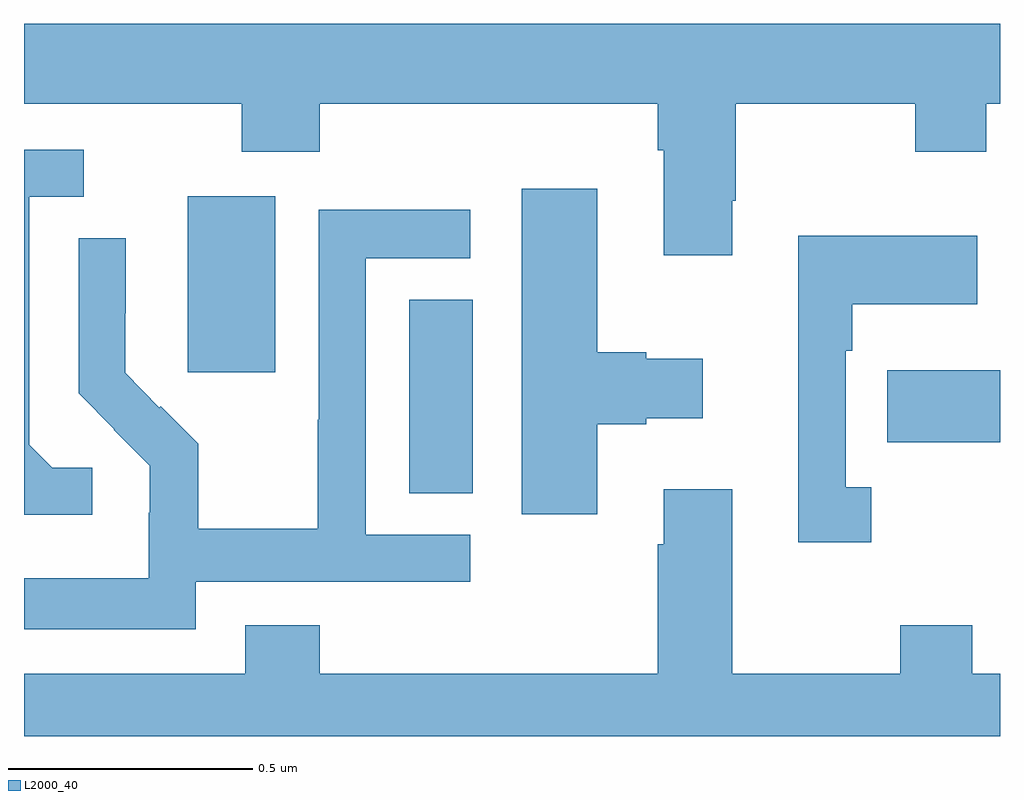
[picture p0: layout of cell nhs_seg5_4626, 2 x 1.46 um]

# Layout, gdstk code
import gdstk
lib = gdstk.Library(unit=1e-6, precision=1e-09)
def R(c, l, rs):  # rectangles x0, y0, x1, y1
    for r in rs: c.add(gdstk.rectangle(r[:2], r[2:], *l))
def P(c, l, *ps):  # polygons
    for p in ps: c.add(gdstk.Polygon(p, *l))
L2000_40 = (2000, 40)

nhs_seg5_4626 = lib.new_cell('nhs_seg5_4626')
R(nhs_seg5_4626, L2000_40, [(173.789,853.297,173.92,853.694), (174.769,853.402,175,853.549), (173.336,853.545,173.515,853.906)])
P(nhs_seg5_4626, L2000_40, [(174.451,853.897),(174.459,853.897),(174.459,854.096),(174.826,854.096),(174.826,853.997),(174.972,853.997),(174.972,854.096),(175,854.096),(175,854.26),(173,854.26),(173,854.096),(173.446,854.096),(173.446,853.997),(173.606,853.997),(173.606,854.096),(174.299,854.096),(174.299,854),(174.311,854),(174.311,853.785),(174.451,853.785)],
  [(173.14,853.35),(173.058,853.35),(173.011,853.397),(173.011,853.905),(173.122,853.905),(173.122,854.001),(173,854.001),(173,853.253),(173.14,853.253)],
  [(174.175,853.439),(174.275,853.439),(174.275,853.451),(174.391,853.451),(174.391,853.573),(174.275,853.573),(174.275,853.586),(174.175,853.586),(174.175,853.921),(174.02,853.921),(174.02,853.254),(174.175,853.254)],
  [(173.352,853.116),(173.914,853.116),(173.914,853.212),(173.7,853.212),(173.7,853.779),(173.914,853.779),(173.914,853.878),(173.604,853.878),(173.604,853.448),(173.602,853.448),(173.602,853.225),(173.357,853.225),(173.357,853.399),(173.28,853.476),(173.277,853.473),(173.207,853.544),(173.207,853.666),(173.208,853.666),(173.208,853.82),(173.112,853.82),(173.112,853.502),(173.185,853.429),(173.184,853.428),(173.258,853.354),(173.258,853.257),(173.256,853.257),(173.256,853.123),(173,853.123),(173,853.019),(173.352,853.019)],
  [(174.736,853.31),(174.684,853.31),(174.684,853.589),(174.697,853.589),(174.697,853.685),(174.953,853.685),(174.953,853.825),(174.587,853.825),(174.587,853.197),(174.736,853.197)],
  [(175,852.928),(174.943,852.928),(174.943,853.027),(174.796,853.027),(174.796,852.928),(174.451,852.928),(174.451,853.306),(174.311,853.306),(174.311,853.193),(174.299,853.193),(174.299,852.928),(173.606,852.928),(173.606,853.027),(173.453,853.027),(173.453,852.928),(173,852.928),(173,852.799),(175,852.799)])

lib.write_gds('nhs_seg5_4626.gds')
